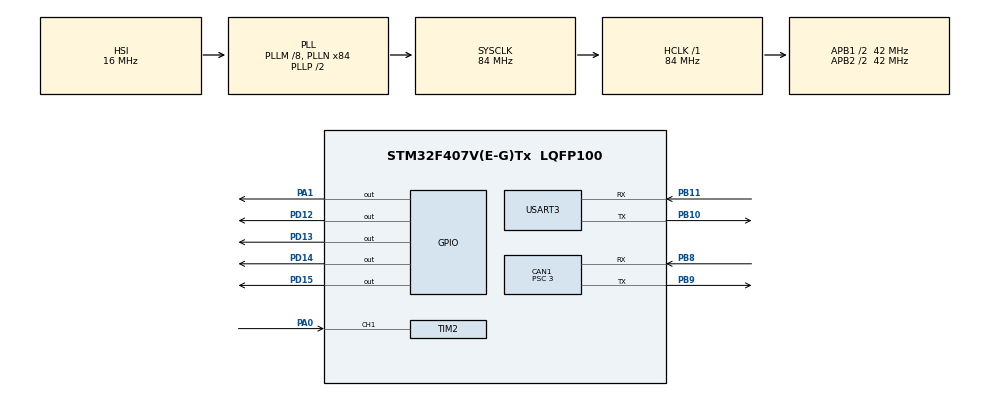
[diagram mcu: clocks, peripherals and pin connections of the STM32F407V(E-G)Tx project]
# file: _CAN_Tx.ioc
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CAN1.ABOM=ENABLE
CAN1.AWUM=ENABLE
CAN1.BS1=CAN_BS1_11TQ
CAN1.BS2=CAN_BS2_2TQ
CAN1.CalculateBaudRate=1000000
CAN1.CalculateTimeBit=1000
CAN1.CalculateTimeQuantum=71.42857142857143
CAN1.NART=ENABLE
CAN1.Prescaler=3
CAN1.TXFP=ENABLE
Mcu.Family=STM32F4
Mcu.Name=STM32F407V(E-G)Tx
Mcu.Package=LQFP100
NVIC.CAN1_RX0_IRQn=true\:0\:0\:false\:false\:true\:true\:true\:true
NVIC.CAN1_TX_IRQn=true\:0\:0\:false\:false\:true\:true\:true\:true
NVIC.PriorityGroup=NVIC_PRIORITYGROUP_0
PA0-WKUP.Signal=S_TIM2_CH1_ETR
PA1.Signal=GPIO_Output
PB10.Mode=Asynchronous
PB10.Signal=USART3_TX
PB11.Mode=Asynchronous
PB11.Signal=USART3_RX
PB8.Mode=CAN_Activate
PB8.Signal=CAN1_RX
PB9.Mode=CAN_Activate
PB9.Signal=CAN1_TX
PD12.Signal=GPIO_Output
PD13.Signal=GPIO_Output
PD14.Signal=GPIO_Output
PD15.Signal=GPIO_Output
PH0-OSC_IN.Mode=HSE-External-Oscillator
PH0-OSC_IN.Signal=RCC_OSC_IN
PH1-OSC_OUT.Mode=HSE-External-Oscillator
PH1-OSC_OUT.Signal=RCC_OSC_OUT
ProjectManager.HeapSize=0x200
ProjectManager.StackSize=0x400
ProjectManager.TargetToolchain=STM32CubeIDE
RCC.48MHZClocksFreq_Value=24000000
RCC.AHBFreq_Value=84000000
RCC.APB1CLKDivider=RCC_HCLK_DIV2
RCC.APB1Freq_Value=42000000
RCC.APB1TimFreq_Value=84000000
RCC.APB2CLKDivider=RCC_HCLK_DIV2
RCC.APB2Freq_Value=42000000
RCC.APB2TimFreq_Value=84000000
RCC.CortexFreq_Value=84000000
RCC.HCLKFreq_Value=84000000
RCC.HSE_VALUE=8000000
RCC.HSI_VALUE=16000000
RCC.LSE_VALUE=32768
RCC.PLLM=8
RCC.PLLN=84
RCC.PLLQ=7
RCC.SYSCLKFreq_VALUE=84000000
RCC.SYSCLKSource=RCC_SYSCLKSOURCE_PLLCLK
RCC.VCOOutputFreq_Value=168000000
SH.S_TIM2_CH1_ETR.0=TIM2_CH1,Input_Capture1_from_TI1
TIM2.Channel-Input_Capture1_from_TI1=TIM_CHANNEL_1
TIM2.Period=65535
TIM2.Prescaler=84-1
USART3.VirtualMode=VM_ASYNC
VP_TIM2_VS_ClockSourceINT.Mode=Internal
board=STM32F407G-DISC1

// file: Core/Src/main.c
/* USER CODE BEGIN Header */
/**
  ******************************************************************************
  * @file           : main.c
  * @brief          : Main program body (merged - ultrasonic + CAN TX)
  ******************************************************************************
  * @attention
  *
  * Copyright (c) 2025 STMicroelectronics.
  * All rights reserved.
  *
  ******************************************************************************
  */
/* USER CODE END Header */
#include "main.h"

/* USER CODE BEGIN Includes */
#include <stdio.h>
#include <string.h>
#include <stdarg.h>
/* USER CODE END Includes */

CAN_HandleTypeDef hcan1;

TIM_HandleTypeDef htim2;

UART_HandleTypeDef huart3;

/* USER CODE BEGIN PV */
volatile uint32_t ic_val1 = 0;
volatile uint32_t ic_val2 = 0;
volatile uint8_t is_first_captured = 0;
volatile uint8_t capture_done = 0;

/* CAN TX */
CAN_TxHeaderTypeDef canTxHeader;
uint8_t canTxData[8];
uint32_t canTxMailbox;
/* USER CODE END PV */

void SystemClock_Config(void);
static void MX_GPIO_Init(void);
static void MX_CAN1_Init(void);
static void MX_TIM2_Init(void);
static void MX_USART3_UART_Init(void);
/* USER CODE BEGIN PFP */
static void DWT_Delay_Init(void);
static void delay_us(uint32_t us);

/* Minimal print function wrapper */
static void uart_printf(const char *fmt, ...);

/* USER CODE END PFP */

int main(void)
{

  /* MCU Configuration--------------------------------------------------------*/
  HAL_Init();

  SystemClock_Config();

  /* Initialize all configured peripherals */
  MX_GPIO_Init();
  MX_CAN1_Init();
  MX_TIM2_Init();
  MX_USART3_UART_Init();

  /* USER CODE BEGIN 2 */
  DWT_Delay_Init();
  void print_can_error(uint32_t err);

  __HAL_TIM_SET_COUNTER(&htim2, 0);
  if (HAL_TIM_IC_Start_IT(&htim2, TIM_CHANNEL_1) != HAL_OK)
  {
    Error_Handler();
  }

//  canTxHeader.DLC = 4;
//  canTxHeader.IDE = CAN_ID_STD;
//  canTxHeader.RTR = CAN_RTR_DATA;
//  canTxHeader.StdId = 0x123;
//  canTxHeader.TransmitGlobalTime = DISABLE;

  uart_printf("STM32F407VG Ultrasonic (TIM2 IC -> CAN1 & USART3)\r\n");
  /* USER CODE END 2 */

  /* Infinite loop */
  while (1)
  {
    /* USER CODE BEGIN WHILE */
      is_first_captured = 0;
      capture_done = 0;
      __HAL_TIM_SET_COUNTER(&htim2, 0);

      HAL_GPIO_WritePin(GPIOA, GPIO_PIN_1, GPIO_PIN_SET);
      delay_us(10);
      HAL_GPIO_WritePin(GPIOA, GPIO_PIN_1, GPIO_PIN_RESET);

      uint32_t start = HAL_GetTick();
      while (!capture_done)
      {
          if ((HAL_GetTick() - start) > 50)
          {
              uart_printf("Timeout: no echo\r\n");
              break;
          }
      }

      if (capture_done)
      {
          uint32_t diff;

          if (ic_val2 >= ic_val1)
              diff = ic_val2 - ic_val1;
          else
              diff = (0xFFFF - ic_val1) + ic_val2 + 1;

          float distance_cm = (float)diff * 0.01715f;
          uart_printf("Pulse: %lu us, Distance: %.2f cm\r\n", (unsigned long)diff, distance_cm);

          canTxHeader.StdId = 0x123;
          canTxHeader.DLC = 4;
          canTxHeader.IDE = CAN_ID_STD;
          canTxHeader.RTR = CAN_RTR_DATA;
          memcpy(canTxData, &distance_cm, sizeof(float));

          uint32_t timeout = HAL_GetTick() + 50;
          while (HAL_CAN_GetTxMailboxesFreeLevel(&hcan1) == 0 &&
                 HAL_GetTick() < timeout)
          {
              /* waiting for mailbox */
          }

          if (HAL_CAN_GetTxMailboxesFreeLevel(&hcan1) == 0)
          {
              uart_printf("CAN TX Mailbox Full – TX skipped\n");
          }
          else
          {
              if (HAL_CAN_AddTxMessage(&hcan1, &canTxHeader, canTxData, &canTxMailbox) != HAL_OK)
              {
                  uint32_t err = HAL_CAN_GetError(&hcan1);
                  uart_printf("CAN TX ERROR (0x%08lX)\n", err);

                  if (err & HAL_CAN_ERROR_BOF)
                  {
                	  print_can_error(err);
                      uart_printf("BUS-OFF detected! Restarting CAN...\n");
                      HAL_CAN_Stop(&hcan1);
                      HAL_Delay(10);
                      HAL_CAN_Start(&hcan1);
                  }
              }
              else
              {
                  uart_printf("TX OK: %.2f cm\n", distance_cm);
              }
          }

//          memcpy(canTxData, &distance_cm, 4); // float -> 4 bytes, little-endian
//
//          if (HAL_CAN_AddTxMessage(&hcan1, &canTxHeader, canTxData, &canTxMailbox) != HAL_OK)
//          {
//              uart_printf("CAN TX Error\r\n");
//          }
//          else
//          {
//              uart_printf("CAN Sent: %.2f cm (ID: 0x%03lX)\r\n", distance_cm, (unsigned long)canTxHeader.StdId);
//          }

      }

      HAL_Delay(200);
    /* USER CODE END WHILE */

  }
}

void SystemClock_Config(void)
{
  RCC_OscInitTypeDef RCC_OscInitStruct = {0};
  RCC_ClkInitTypeDef RCC_ClkInitStruct = {0};

  /** Configure the main internal regulator output voltage
  */
  __HAL_RCC_PWR_CLK_ENABLE();
  __HAL_PWR_VOLTAGESCALING_CONFIG(PWR_REGULATOR_VOLTAGE_SCALE1);

  /** Initializes the RCC Oscillators according to the specified parameters
  */
  RCC_OscInitStruct.OscillatorType = RCC_OSCILLATORTYPE_HSI;
  RCC_OscInitStruct.HSIState = RCC_HSI_ON;
  RCC_OscInitStruct.HSICalibrationValue = RCC_HSICALIBRATION_DEFAULT;
  RCC_OscInitStruct.PLL.PLLState = RCC_PLL_ON;
  RCC_OscInitStruct.PLL.PLLSource = RCC_PLLSOURCE_HSI;
  RCC_OscInitStruct.PLL.PLLM = 8;
  RCC_OscInitStruct.PLL.PLLN = 84;
  RCC_OscInitStruct.PLL.PLLP = RCC_PLLP_DIV2;
  RCC_OscInitStruct.PLL.PLLQ = 7;
  if (HAL_RCC_OscConfig(&RCC_OscInitStruct) != HAL_OK)
  {
    Error_Handler();
  }

  /** Initializes the CPU, AHB and APB buses clocks
  */
  RCC_ClkInitStruct.ClockType = RCC_CLOCKTYPE_HCLK|RCC_CLOCKTYPE_SYSCLK
                              |RCC_CLOCKTYPE_PCLK1|RCC_CLOCKTYPE_PCLK2;
  RCC_ClkInitStruct.SYSCLKSource = RCC_SYSCLKSOURCE_PLLCLK;
  RCC_ClkInitStruct.AHBCLKDivider = RCC_SYSCLK_DIV1;
  RCC_ClkInitStruct.APB1CLKDivider = RCC_HCLK_DIV2;
  RCC_ClkInitStruct.APB2CLKDivider = RCC_HCLK_DIV2;

  if (HAL_RCC_ClockConfig(&RCC_ClkInitStruct, FLASH_LATENCY_2) != HAL_OK)
  {
    Error_Handler();
  }
}

static void MX_CAN1_Init(void)
{

  hcan1.Instance = CAN1;
  hcan1.Init.Prescaler = 3;
  hcan1.Init.Mode = CAN_MODE_NORMAL;
  hcan1.Init.SyncJumpWidth = CAN_SJW_1TQ;
  hcan1.Init.TimeSeg1 = CAN_BS1_11TQ;
  hcan1.Init.TimeSeg2 = CAN_BS2_2TQ;
  hcan1.Init.TimeTriggeredMode = DISABLE;
  hcan1.Init.AutoBusOff = ENABLE;
  hcan1.Init.AutoWakeUp = ENABLE;
  hcan1.Init.AutoRetransmission = ENABLE;
  hcan1.Init.ReceiveFifoLocked = DISABLE;
  hcan1.Init.TransmitFifoPriority = ENABLE;
  if (HAL_CAN_Init(&hcan1) != HAL_OK)
  {
    Error_Handler();
  }

  /* USER CODE BEGIN CAN1_Init 2 */
  CAN_FilterTypeDef canFilter;
  canFilter.FilterActivation = ENABLE;
  canFilter.FilterBank = 0;
  canFilter.FilterFIFOAssignment = CAN_FILTER_FIFO0;
  canFilter.FilterIdHigh = 0x0000;
  canFilter.FilterIdLow = 0x0000;
  canFilter.FilterMaskIdHigh = 0x0000;
  canFilter.FilterMaskIdLow = 0x0000;
  canFilter.FilterMode = CAN_FILTERMODE_IDMASK;
  canFilter.FilterScale = CAN_FILTERSCALE_32BIT;
  canFilter.SlaveStartFilterBank = 14;
  if (HAL_CAN_ConfigFilter(&hcan1, &canFilter) != HAL_OK)
  {
      Error_Handler();
  }

  if (HAL_CAN_Start(&hcan1) != HAL_OK)
  {
      Error_Handler();
  }

  if (HAL_CAN_ActivateNotification(&hcan1, CAN_IT_RX_FIFO0_MSG_PENDING) != HAL_OK)
  {
      Error_Handler();
  }

  HAL_NVIC_SetPriority(CAN1_RX0_IRQn, 0, 0);
  HAL_NVIC_EnableIRQ(CAN1_RX0_IRQn);
  /* USER CODE END CAN1_Init 2 */
}

static void MX_TIM2_Init(void)
{
  TIM_ClockConfigTypeDef sClockSourceConfig = {0};
  TIM_MasterConfigTypeDef sMasterConfig = {0};
  TIM_IC_InitTypeDef sConfigIC = {0};

  htim2.Instance = TIM2;

  htim2.Init.Prescaler = 84-1;
  htim2.Init.CounterMode = TIM_COUNTERMODE_UP;
  htim2.Init.Period = 65535;
  htim2.Init.ClockDivision = TIM_CLOCKDIVISION_DIV1;
  htim2.Init.AutoReloadPreload = TIM_AUTORELOAD_PRELOAD_DISABLE;
  if (HAL_TIM_Base_Init(&htim2) != HAL_OK)
  {
    Error_Handler();
  }
  sClockSourceConfig.ClockSource = TIM_CLOCKSOURCE_INTERNAL;
  if (HAL_TIM_ConfigClockSource(&htim2, &sClockSourceConfig) != HAL_OK)
  {
    Error_Handler();
  }
  if (HAL_TIM_IC_Init(&htim2) != HAL_OK)
  {
    Error_Handler();
  }
  sMasterConfig.MasterOutputTrigger = TIM_TRGO_RESET;
  sMasterConfig.MasterSlaveMode = TIM_MASTERSLAVEMODE_DISABLE;
  if (HAL_TIMEx_MasterConfigSynchronization(&htim2, &sMasterConfig) != HAL_OK)
  {
    Error_Handler();
  }
  /* Input capture channel config */
  sConfigIC.ICPolarity = TIM_INPUTCHANNELPOLARITY_RISING;
  sConfigIC.ICSelection = TIM_ICSELECTION_DIRECTTI;
  sConfigIC.ICPrescaler = TIM_ICPSC_DIV1;
  sConfigIC.ICFilter = 0;
  if (HAL_TIM_IC_ConfigChannel(&htim2, &sConfigIC, TIM_CHANNEL_1) != HAL_OK)
  {
    Error_Handler();
  }

  /* Enable TIM2 IRQ in NVIC for HAL TIM handling */
  HAL_NVIC_SetPriority(TIM2_IRQn, 1, 0);
  HAL_NVIC_EnableIRQ(TIM2_IRQn);
}

static void MX_USART3_UART_Init(void)
{
  huart3.Instance = USART3;
  huart3.Init.BaudRate = 115200;
  huart3.Init.WordLength = UART_WORDLENGTH_8B;
  huart3.Init.StopBits = UART_STOPBITS_1;
  huart3.Init.Parity = UART_PARITY_NONE;
  huart3.Init.Mode = UART_MODE_TX_RX;
  huart3.Init.HwFlowCtl = UART_HWCONTROL_NONE;
  huart3.Init.OverSampling = UART_OVERSAMPLING_16;
  if (HAL_UART_Init(&huart3) != HAL_OK)
  {
    Error_Handler();
  }
}

static void MX_GPIO_Init(void)
{
  GPIO_InitTypeDef GPIO_InitStruct = {0};

  /* GPIO Ports Clock Enable */
  __HAL_RCC_GPIOH_CLK_ENABLE();
  __HAL_RCC_GPIOA_CLK_ENABLE();
  __HAL_RCC_GPIOB_CLK_ENABLE();
  __HAL_RCC_GPIOD_CLK_ENABLE();

  /*Configure GPIO pin Output Level : PA1 (TRIG) */
  HAL_GPIO_WritePin(GPIOA, GPIO_PIN_1, GPIO_PIN_RESET);

  /*Configure GPIO pin Output Level : LEDs PD12..PD15 */
  HAL_GPIO_WritePin(GPIOD, GPIO_PIN_12|GPIO_PIN_13|GPIO_PIN_14|GPIO_PIN_15, GPIO_PIN_RESET);

  /*Configure GPIO pin : PA1 (TRIG) */
  GPIO_InitStruct.Pin = GPIO_PIN_1;
  GPIO_InitStruct.Mode = GPIO_MODE_OUTPUT_PP;
  GPIO_InitStruct.Pull = GPIO_NOPULL;
  GPIO_InitStruct.Speed = GPIO_SPEED_FREQ_LOW;
  HAL_GPIO_Init(GPIOA, &GPIO_InitStruct);

  /*Configure GPIO pins : PD12 PD13 PD14 PD15 (LEDs) */
  GPIO_InitStruct.Pin = GPIO_PIN_12|GPIO_PIN_13|GPIO_PIN_14|GPIO_PIN_15;
  GPIO_InitStruct.Mode = GPIO_MODE_OUTPUT_PP;
  GPIO_InitStruct.Pull = GPIO_NOPULL;
  GPIO_InitStruct.Speed = GPIO_SPEED_FREQ_LOW;
  HAL_GPIO_Init(GPIOD, &GPIO_InitStruct);

  /*Configure GPIO pin : PA0 (TIM2 CH1) as AF for TIM2 */
  GPIO_InitStruct.Pin = GPIO_PIN_0;
  GPIO_InitStruct.Mode = GPIO_MODE_AF_PP;
  GPIO_InitStruct.Pull = GPIO_NOPULL;
  GPIO_InitStruct.Speed = GPIO_SPEED_FREQ_HIGH;
  GPIO_InitStruct.Alternate = GPIO_AF1_TIM2;
  HAL_GPIO_Init(GPIOA, &GPIO_InitStruct);

  /* Configure CAN1 TX/RX pins: PB9 (TX), PB8 (RX) - AF9 */
  GPIO_InitStruct.Pin = GPIO_PIN_8|GPIO_PIN_9;
  GPIO_InitStruct.Mode = GPIO_MODE_AF_PP;
  GPIO_InitStruct.Pull = GPIO_NOPULL;
  GPIO_InitStruct.Speed = GPIO_SPEED_FREQ_VERY_HIGH;
  GPIO_InitStruct.Alternate = GPIO_AF9_CAN1;
  HAL_GPIO_Init(GPIOB, &GPIO_InitStruct);
}

/* USER CODE BEGIN 4 */

void HAL_TIM_IC_CaptureCallback(TIM_HandleTypeDef *htim)
{
    if (htim->Channel == HAL_TIM_ACTIVE_CHANNEL_1)
    {
        if (is_first_captured == 0)
        {
            ic_val1 = HAL_TIM_ReadCapturedValue(htim, TIM_CHANNEL_1);
            is_first_captured = 1;

            __HAL_TIM_SET_CAPTUREPOLARITY(htim, TIM_CHANNEL_1, TIM_INPUTCHANNELPOLARITY_FALLING);
        }
        else
        {
            ic_val2 = HAL_TIM_ReadCapturedValue(htim, TIM_CHANNEL_1);

            __HAL_TIM_SET_CAPTUREPOLARITY(htim, TIM_CHANNEL_1, TIM_INPUTCHANNELPOLARITY_RISING);

            capture_done = 1;
        }
    }
}
void print_can_error(uint32_t err)
{
    if (err == HAL_CAN_ERROR_NONE) { uart_printf("CAN ERR: NONE\n"); return; }
    if (err & HAL_CAN_ERROR_EWG) uart_printf("CAN ERR: EWG\n");
    if (err & HAL_CAN_ERROR_EPV) uart_printf("CAN ERR: EPV\n");
    if (err & HAL_CAN_ERROR_BOF) uart_printf("CAN ERR: BOF\n");
    if (err & HAL_CAN_ERROR_STF) uart_printf("CAN ERR: STF\n");
    if (err & HAL_CAN_ERROR_FOR) uart_printf("CAN ERR: FOR\n");
    if (err & HAL_CAN_ERROR_ACK) uart_printf("CAN ERR: ACK\n");
    if (err & HAL_CAN_ERROR_BR)  uart_printf("CAN ERR: BITRATE\n");
}

void HAL_CAN_RxFifo0MsgPendingCallback(CAN_HandleTypeDef *hcan)
{
    CAN_RxHeaderTypeDef rxHeader;
    uint8_t rxData[8];

    if (HAL_CAN_GetRxMessage(hcan, CAN_RX_FIFO0, &rxHeader, rxData) != HAL_OK)
    {
        return;
    }

    if (rxHeader.DLC >= 4)
    {
        float rcvd;
        memcpy(&rcvd, rxData, 4);
        uart_printf("CAN RX: %.2f cm (ID: 0x%03lX)\r\n", rcvd, (unsigned long)rxHeader.StdId);
    }
}

void TIM2_IRQHandler(void)
{
  HAL_TIM_IRQHandler(&htim2);
}

static void DWT_Delay_Init(void)
{
    CoreDebug->DEMCR |= CoreDebug_DEMCR_TRCENA_Msk;
    DWT->CYCCNT = 0;
    DWT->CTRL |= DWT_CTRL_CYCCNTENA_Msk;
}

static void delay_us(uint32_t us)
{
    uint32_t cycles = (SystemCoreClock / 1000000L) * us;
    uint32_t start = DWT->CYCCNT;
    while ((DWT->CYCCNT - start) < cycles) { /* busy wait */ }
}

static void uart_printf(const char *fmt, ...)
{
    char buf[128];
    va_list args;
    va_start(args, fmt);
    vsnprintf(buf, sizeof(buf), fmt, args);
    va_end(args);
    HAL_UART_Transmit(&huart3, (uint8_t *)buf, strlen(buf), HAL_MAX_DELAY);
}

/* USER CODE END 4 */

void Error_Handler(void)
{
  __disable_irq();
  while (1)
  {
    /* Optionally blink an LED here to indicate error */
  }
}
